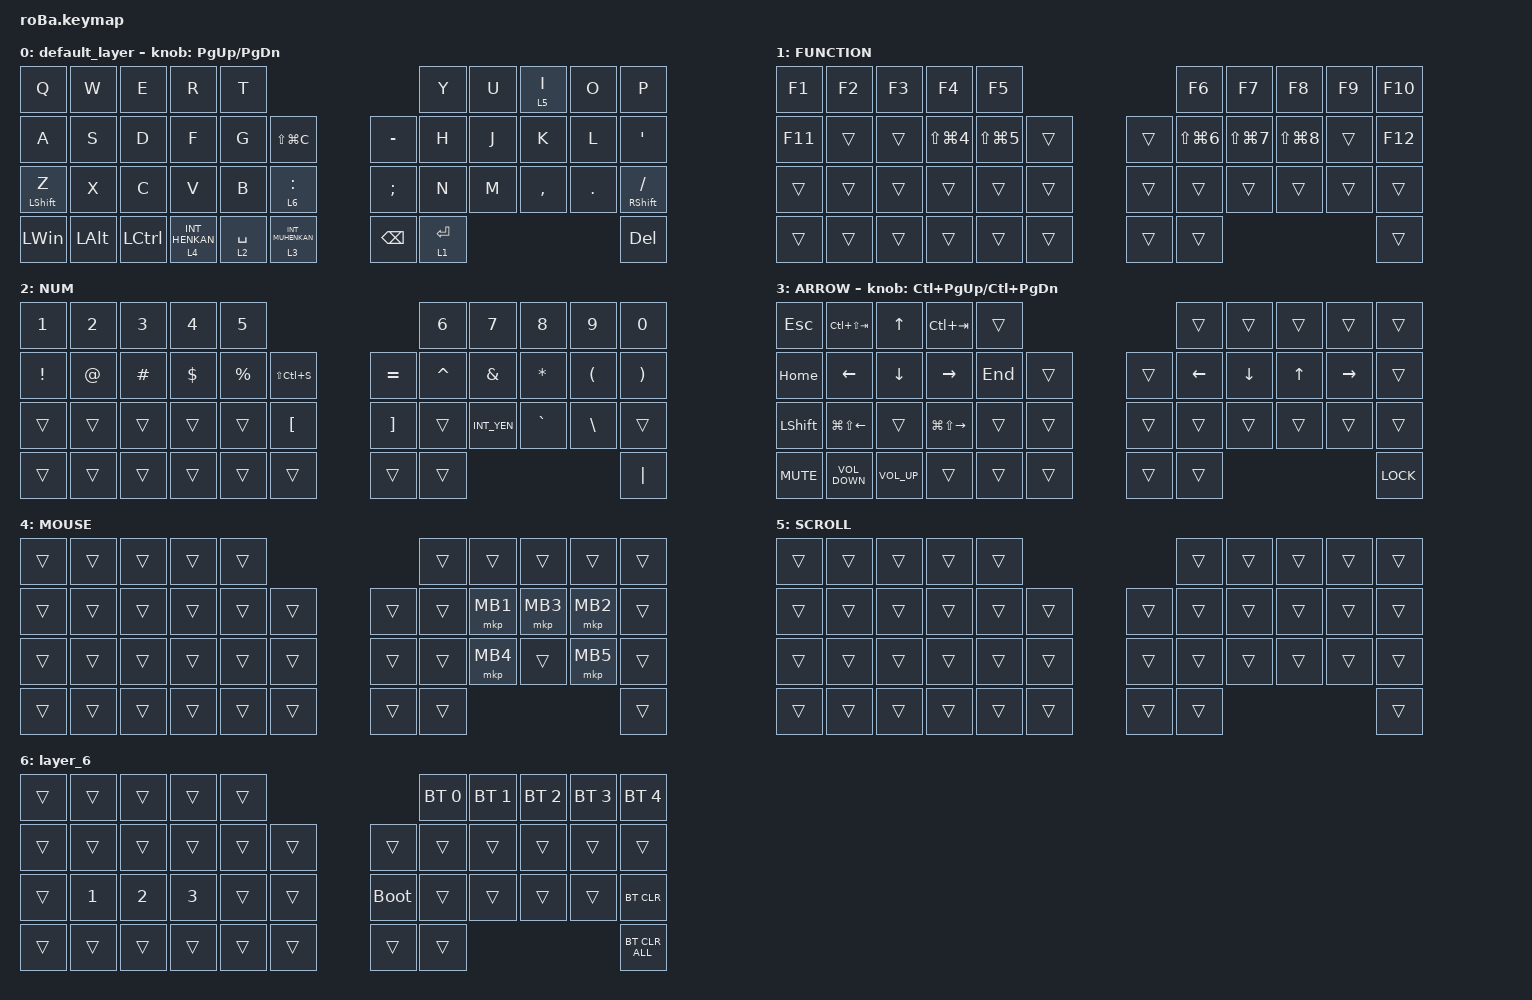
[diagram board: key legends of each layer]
#include <behaviors.dtsi>
#include <dt-bindings/zmk/bt.h>
#include <dt-bindings/zmk/keys.h>
#include <dt-bindings/zmk/pointing.h>

#define MOUSE 4
#define SCROLL 5
#define NUM 6

&mt {
    flavor = "balanced";
    quick-tap-ms = <0>;
};

/ {
    combos {
        compatible = "zmk,combos";

        tab {
            bindings = <&kp TAB>;
            key-positions = <11 12>;
        };

        shift_tab {
            bindings = <&kp LS(TAB)>;
            key-positions = <12 13>;
        };

        double_quotation {
            bindings = <&kp DOUBLE_QUOTES>;
            key-positions = <20 21>;
        };

        eq {
            bindings = <&kp EQUAL>;
            key-positions = <24 25>;
        };

        question {
            bindings = <&kp QUESTION>;
            key-positions = <32 33>;
        };

        escape {
            bindings = <&kp ESCAPE>;
            key-positions = <0 1>;
        };
    };

    macros {
        to_layer_0: to_layer_0 {
            compatible = "zmk,behavior-macro-one-param";
            #binding-cells = <1>;
            bindings = <&to 0 &macro_param_1to1 &kp MACRO_PLACEHOLDER>;
            label = "TO_LAYER_0";
        };
    };

    behaviors {
        lt_to_layer_0: lt_to_layer_0 {
            compatible = "zmk,behavior-hold-tap";
            label = "LAYER_TAP_TO_0";
            bindings = <&mo>, <&to_layer_0>;

            #binding-cells = <2>;
            tapping-term-ms = <200>;
        };
    };

    keymap {
        compatible = "zmk,keymap";

        default_layer {
            bindings = <
&kp Q             &kp W         &kp E             &kp R                        &kp T                                                          &kp Y        &kp U  &lt 5 I    &kp O    &kp P
&kp A             &kp S         &kp D             &kp F                        &kp G        &kp LS(LG(C))                      &kp MINUS      &kp H        &kp J  &kp K      &kp L    &kp SQT
&mt LEFT_SHIFT Z  &kp X         &kp C             &kp V                        &kp B        &lt_to_layer_0 6 COLON             &kp SEMICOLON  &kp N        &kp M  &kp COMMA  &kp DOT  &mt RIGHT_SHIFT SLASH
&kp LEFT_WIN      &kp LEFT_ALT  &kp LEFT_CONTROL  &lt_to_layer_0 4 INT_HENKAN  &lt 2 SPACE  &lt_to_layer_0 3 INT_MUHENKAN      &kp BACKSPACE  &lt 1 ENTER                             &kp DEL
            >;

            sensor-bindings = <&inc_dec_kp PG_UP PAGE_DOWN>;
        };

        FUNCTION {
            bindings = <
&kp F1   &kp F2  &kp F3  &kp F4                &kp F5                              &kp F6                &kp F7          &kp F8                &kp F9  &kp F10
&kp F11  &trans  &trans  &kp LS(LG(NUMBER_4))  &kp LS(LG(N5))  &trans      &trans  &kp LS(LG(NUMBER_6))  &kp LS(LG(N7))  &kp LS(LG(NUMBER_8))  &trans  &kp F12
&trans   &trans  &trans  &trans                &trans          &trans      &trans  &trans                &trans          &trans                &trans  &trans
&trans   &trans  &trans  &trans                &trans          &trans      &trans  &trans                                                              &trans
            >;
        };

        NUM {
            bindings = <
&kp NUMBER_1     &kp NUMBER_2  &kp NUMBER_3  &kp NUMBER_4  &kp NUMBER_5                                           &kp NUMBER_6  &kp NUMBER_7   &kp NUMBER_8  &kp NUMBER_9          &kp NUMBER_0
&kp EXCLAMATION  &kp AT_SIGN   &kp HASH      &kp DOLLAR    &kp PERCENT   &kp LS(LC(S))         &kp EQUAL          &kp CARET     &kp AMPERSAND  &kp ASTERISK  &kp LEFT_PARENTHESIS  &kp RIGHT_PARENTHESIS
&trans           &trans        &trans        &trans        &trans        &kp LEFT_BRACKET      &kp RIGHT_BRACKET  &trans        &kp INT_YEN    &kp GRAVE     &kp BACKSLASH         &trans
&trans           &trans        &trans        &trans        &trans        &trans                &trans             &trans                                                           &kp PIPE
            >;
        };

        ARROW {
            bindings = <
&kp ESCAPE      &kp LC(LS(TAB))         &kp UP_ARROW     &kp LC(TAB)              &trans                       &trans    &trans    &trans        &trans     &trans
&kp HOME        &kp LEFT_ARROW          &kp DOWN_ARROW   &kp RIGHT_ARROW          &kp END  &trans      &trans  &kp LEFT  &kp DOWN  &kp UP_ARROW  &kp RIGHT  &trans
&kp LEFT_SHIFT  &kp LG(LS(LEFT_ARROW))  &trans           &kp LG(LS(RIGHT_ARROW))  &trans   &trans      &trans  &trans    &trans    &trans        &trans     &trans
&kp K_MUTE      &kp C_VOLUME_DOWN       &kp C_VOLUME_UP  &trans                   &trans   &trans      &trans  &trans                                       &kp K_LOCK
            >;

            sensor-bindings = <&inc_dec_kp LC(PAGE_UP) LC(PAGE_DOWN)>;
        };

        MOUSE {
            bindings = <
&trans  &trans  &trans  &trans  &trans                      &trans  &trans    &trans    &trans    &trans
&trans  &trans  &trans  &trans  &trans  &trans      &trans  &trans  &mkp MB1  &mkp MB3  &mkp MB2  &trans
&trans  &trans  &trans  &trans  &trans  &trans      &trans  &trans  &mkp MB4  &trans    &mkp MB5  &trans
&trans  &trans  &trans  &trans  &trans  &trans      &trans  &trans                                &trans
            >;
        };

        SCROLL {
            bindings = <
&trans  &trans  &trans  &trans  &trans                      &trans  &trans  &trans  &trans  &trans
&trans  &trans  &trans  &trans  &trans  &trans      &trans  &trans  &trans  &trans  &trans  &trans
&trans  &trans  &trans  &trans  &trans  &trans      &trans  &trans  &trans  &trans  &trans  &trans
&trans  &trans  &trans  &trans  &trans  &trans      &trans  &trans                          &trans
            >;
        };

        layer_6 {
            bindings = <
&trans  &trans        &trans        &trans        &trans                           &bt BT_SEL 0  &bt BT_SEL 1  &bt BT_SEL 2  &bt BT_SEL 3  &bt BT_SEL 4
&trans  &trans        &trans        &trans        &trans  &trans      &trans       &trans        &trans        &trans        &trans        &trans
&trans  &kp NUMBER_1  &kp NUMBER_2  &kp NUMBER_3  &trans  &trans      &bootloader  &trans        &trans        &trans        &trans        &bt BT_CLR
&trans  &trans        &trans        &trans        &trans  &trans      &trans       &trans                                                  &bt BT_CLR_ALL
            >;
        };
    };
};
